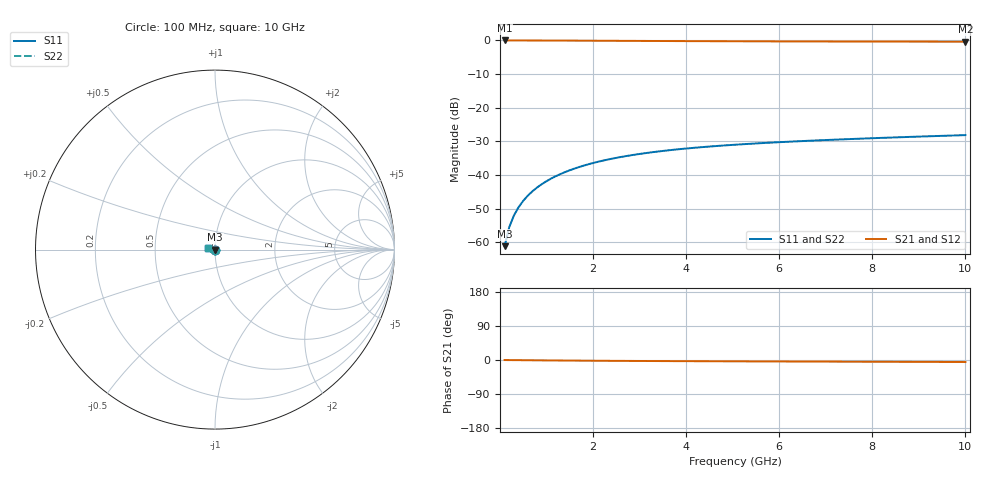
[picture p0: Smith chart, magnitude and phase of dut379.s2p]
! Touchstone file exported from HFSS 2024.1.0
!  File:  C:/UserFiles/LocalFiles/RDL_TSV_Batchsim/temp_TSV1_379_1779622600.aedt
!  Generated:  07:42:37 PM May 24, 2026
!  Design:  TSV1
!  Project:  temp_TSV1_379_1779622600
!  Setup:  Setup1
!  Solution:  Sweep
! Variables:
!  dtsv = 6.86um
!  hbump = 3um
!  htsv = 82.08um
!  lrdl = 252.1521522um
!  p = 40
!  p1 = 44.11um
!  t = 500um
!  trdl = 3um
!  wrdl = 24.89489489um
# GHz S MA R 50.000000
! Terminal data exported
! Port[1] = TSV22_T1
! Port[2] = TSV22_T2
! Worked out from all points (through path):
!   100 points, 100 MHz to 10 GHz, reference 50 ohm
!   highest |S21| = 0.00 dB at 100 MHz (marker M1); lowest = -0.4 dB at 10 GHz (marker M2)
!   lowest |S11| = -61.2 dB at 100 MHz (marker M3), VSWR 1.00, Z = 50 - j0.0825 ohm
!   |S11| at or under -10 dB: start of sweep to end of sweep
!   |S22| runs from -61.2 to -28.2 dB; largest |S21 - S12| = 5.3e-15
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0.1  0.0008727 -71.0  0.9997 -0.1  0.9997 -0.1  0.0008727 -71.0
! Gamma 0 0 0 0
! Port Impedance 50 0 50 0
0.2  0.001678 -82.8  0.9996 -0.2  0.9996 -0.2  0.001678 -82.8
0.3  0.002496 -88.2  0.9994 -0.3  0.9994 -0.3  0.002496 -88.2
0.4  0.003312 -91.8  0.9992 -0.4  0.9992 -0.4  0.003312 -91.8
0.5  0.004125 -94.6  0.999 -0.5  0.999 -0.5  0.004125 -94.6
0.6  0.004933 -97.1  0.9987 -0.6  0.9987 -0.6  0.004933 -97.1
0.7  0.005732 -99.4  0.9984 -0.7  0.9984 -0.7  0.005732 -99.4
0.8  0.006523 -101.6  0.998 -0.8  0.998 -0.8  0.006523 -101.6
0.9  0.007305 -103.6  0.9976 -0.9  0.9976 -0.9  0.007305 -103.6
1.1  0.008834 -107.5  0.9966 -1.1  0.9966 -1.1  0.008834 -107.5
1.4  0.01103 -113.0  0.995 -1.4  0.995 -1.4  0.01103 -113.0
1.6  0.01243 -116.4  0.9937 -1.6  0.9937 -1.6  0.01243 -116.4
1.8  0.01377 -119.8  0.9924 -1.7  0.9924 -1.7  0.01377 -119.8
2.1  0.01566 -124.5  0.9903 -2.0  0.9903 -2.0  0.01566 -124.5
2.5  0.01796 -130.5  0.9875 -2.3  0.9875 -2.3  0.01796 -130.5
2.9  0.02003 -136.1  0.9847 -2.5  0.9847 -2.5  0.02003 -136.1
3.4  0.02233 -142.5  0.9813 -2.8  0.9813 -2.8  0.02233 -142.5
4.2  0.02543 -151.7  0.9765 -3.2  0.9765 -3.2  0.02542 -151.7
5.1  0.02829 -160.7  0.9719 -3.5  0.9719 -3.5  0.02829 -160.7
6.7  0.03236 -173.9  0.9659 -4.1  0.9659 -4.1  0.03236 -173.9
8.4  0.03598 174.7  0.9615 -4.7  0.9615 -4.7  0.03598 174.7
10  0.0391 165.8  0.9586 -5.3  0.9586 -5.3  0.0391 165.8
